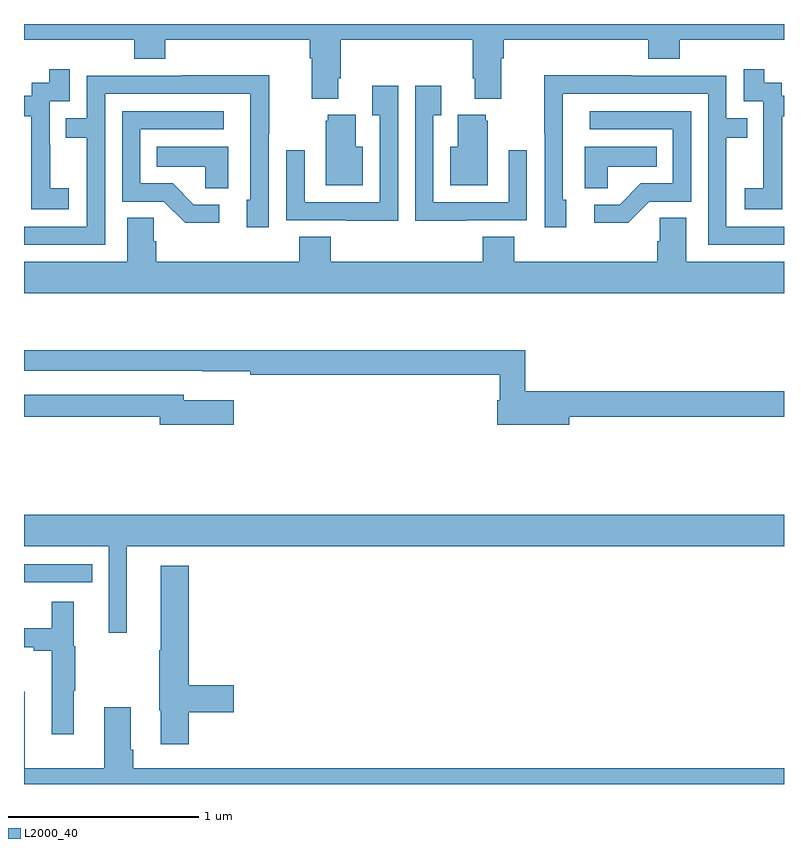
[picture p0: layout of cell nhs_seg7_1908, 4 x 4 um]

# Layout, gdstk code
import gdstk
lib = gdstk.Library(unit=1e-6, precision=1e-09)
def R(c, l, rs):  # rectangles x0, y0, x1, y1
    for r in rs: c.add(gdstk.rectangle(r[:2], r[2:], *l))
def P(c, l, *ps):  # polygons
    for p in ps: c.add(gdstk.Polygon(p, *l))
L2000_40 = (2000, 40)

nhs_seg7_1908 = lib.new_cell('nhs_seg7_1908')
R(nhs_seg7_1908, L2000_40, [(239,1031.061,239.36,1031.157)])
P(nhs_seg7_1908, L2000_40, [(240.655,1033.714),(240.668,1033.714),(240.668,1033.916),(241.361,1033.916),(241.361,1033.714),(241.373,1033.714),(241.373,1033.607),(241.513,1033.607),(241.513,1033.82),(241.526,1033.82),(241.526,1033.916),(242.285,1033.916),(242.285,1033.817),(242.45,1033.817),(242.45,1033.916),(243,1033.916),(243,1034),(239,1034),(239,1033.916),(239.579,1033.916),(239.579,1033.817),(239.744,1033.817),(239.744,1033.916),(240.503,1033.916),(240.503,1033.82),(240.515,1033.82),(240.515,1033.607),(240.655,1033.607)],
  [(239.236,1033.135),(239.138,1033.135),(239.138,1033.364),(239.136,1033.364),(239.136,1033.593),(239.241,1033.593),(239.241,1033.762),(239.133,1033.762),(239.133,1033.692),(239.04,1033.692),(239.04,1033.623),(239,1033.623),(239,1033.515),(239.039,1033.515),(239.039,1033.231),(239.038,1033.231),(239.038,1033.025),(239.236,1033.025)],
  [(242.991,1033.231),(242.99,1033.231),(242.99,1033.515),(243,1033.515),(243,1033.623),(242.988,1033.623),(242.988,1033.692),(242.896,1033.692),(242.896,1033.762),(242.787,1033.762),(242.787,1033.593),(242.892,1033.593),(242.892,1033.364),(242.891,1033.364),(242.891,1033.135),(242.793,1033.135),(242.793,1033.025),(242.991,1033.025)],
  [(239.427,1033.632),(240.192,1033.632),(240.192,1033.074),(240.173,1033.074),(240.173,1032.93),(240.288,1032.93),(240.288,1033.423),(240.291,1033.423),(240.291,1033.73),(239.827,1033.73),(239.827,1033.728),(239.331,1033.728),(239.331,1033.503),(239.221,1033.503),(239.221,1033.402),(239.331,1033.402),(239.331,1032.933),(239,1032.933),(239,1032.837),(239.427,1032.837)],
  [(243,1032.933),(242.697,1032.933),(242.697,1033.402),(242.807,1033.402),(242.807,1033.503),(242.697,1033.503),(242.697,1033.728),(242.201,1033.728),(242.201,1033.73),(241.738,1033.73),(241.738,1033.423),(241.74,1033.423),(241.74,1032.93),(241.855,1032.93),(241.855,1033.074),(241.836,1033.074),(241.836,1033.632),(242.601,1033.632),(242.601,1032.837),(243,1032.837)],
  [(241.331,1032.966),(241.647,1032.966),(241.647,1033.336),(241.551,1033.336),(241.551,1033.062),(241.155,1033.062),(241.155,1033.519),(241.195,1033.519),(241.195,1033.675),(241.059,1033.675),(241.059,1032.965),(241.331,1032.965)],
  [(240.969,1033.675),(240.833,1033.675),(240.833,1033.519),(240.873,1033.519),(240.873,1033.062),(240.477,1033.062),(240.477,1033.336),(240.381,1033.336),(240.381,1032.966),(240.697,1032.966),(240.697,1032.965),(240.969,1032.965)],
  [(242.292,1033.065),(242.511,1033.065),(242.511,1033.542),(241.977,1033.542),(241.977,1033.446),(242.415,1033.446),(242.415,1033.161),(242.246,1033.161),(242.135,1033.05),(242.001,1033.05),(242.001,1032.953),(242.179,1032.953)],
  [(240.028,1033.05),(239.893,1033.05),(239.782,1033.161),(239.613,1033.161),(239.613,1033.446),(240.052,1033.446),(240.052,1033.542),(239.517,1033.542),(239.517,1033.065),(239.736,1033.065),(239.849,1032.953),(240.028,1032.953)],
  [(240.784,1033.354),(240.745,1033.354),(240.745,1033.522),(240.599,1033.522),(240.599,1033.491),(240.587,1033.491),(240.587,1033.151),(240.784,1033.151)],
  [(241.441,1033.491),(241.43,1033.491),(241.43,1033.522),(241.283,1033.522),(241.283,1033.354),(241.244,1033.354),(241.244,1033.151),(241.441,1033.151)],
  [(240.076,1033.354),(239.698,1033.354),(239.698,1033.25),(239.955,1033.25),(239.955,1033.135),(240.076,1033.135)],
  [(242.073,1033.25),(242.33,1033.25),(242.33,1033.354),(241.952,1033.354),(241.952,1033.135),(242.073,1033.135)],
  [(243,1032.748),(242.485,1032.748),(242.485,1032.98),(242.346,1032.98),(242.346,1032.857),(242.333,1032.857),(242.333,1032.748),(241.58,1032.748),(241.58,1032.881),(241.415,1032.881),(241.415,1032.748),(240.614,1032.748),(240.614,1032.881),(240.449,1032.881),(240.449,1032.748),(239.696,1032.748),(239.696,1032.857),(239.682,1032.857),(239.682,1032.98),(239.543,1032.98),(239.543,1032.748),(239,1032.748),(239,1032.584),(243,1032.584)],
  [(241.87,1031.932),(243,1031.932),(243,1032.068),(241.637,1032.068),(241.637,1032.283),(239,1032.283),(239,1032.174),(239.938,1032.174),(239.938,1032.173),(240.19,1032.173),(240.19,1032.154),(241.505,1032.154),(241.505,1032.019),(241.49,1032.019),(241.49,1031.89),(241.87,1031.89)],
  [(240.103,1032.019),(239.842,1032.019),(239.842,1032.048),(239,1032.048),(239,1031.932),(239.714,1031.932),(239.714,1031.89),(240.103,1031.89)],
  [(239.542,1031.252),(243,1031.252),(243,1031.416),(239,1031.416),(239,1031.252),(239.445,1031.252),(239.445,1030.797),(239.542,1030.797)],
  [(239.867,1030.378),(240.103,1030.378),(240.103,1030.52),(239.867,1030.52),(239.867,1031.149),(239.72,1031.149),(239.72,1030.703),(239.713,1030.703),(239.713,1030.389),(239.72,1030.389),(239.72,1030.209),(239.867,1030.209)],
  [(239.263,1030.492),(239.271,1030.492),(239.271,1030.725),(239.263,1030.725),(239.263,1030.96),(239.147,1030.96),(239.147,1030.819),(239,1030.819),(239,1030.72),(239.051,1030.72),(239.051,1030.702),(239.147,1030.702),(239.147,1030.263),(239.263,1030.263)],
  [(243,1030.084),(239.576,1030.084),(239.576,1030.18),(239.563,1030.18),(239.563,1030.405),(239.423,1030.405),(239.423,1030.084),(239.005,1030.084),(239.005,1030.486),(239,1030.486),(239,1030),(243,1030)])

lib.write_gds('nhs_seg7_1908.gds')
